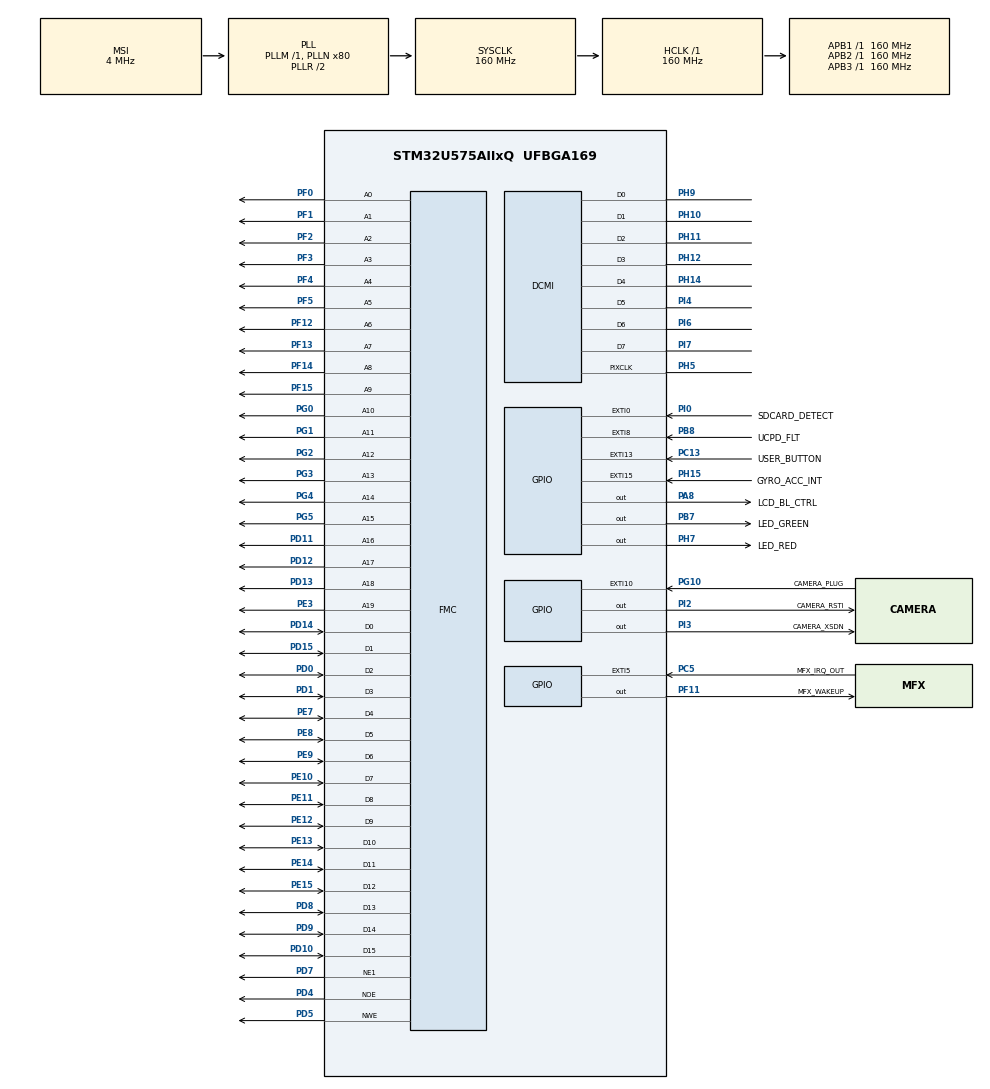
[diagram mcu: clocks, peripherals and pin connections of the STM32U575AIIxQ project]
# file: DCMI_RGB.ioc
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CORTEX_M33_NS.userName=CORTEX_M33
DCMI.FrameEndCode=0xF3
DCMI.FrameStartCode=0xF4
DCMI.JPEGMode=DCMI_JPEG_DISABLE
DCMI.LineEndCode=0xF1
DCMI.LineStartCode=0xF2
DCMI.PCKPolarity=DCMI_PCKPOLARITY_RISING
GPDMA1.LINKALLOCATEDPORT_GPDMACH12=DMA_LINK_ALLOCATED_PORT1
GPDMA1.LINKEDLISTMODE_GPDMACH12=DMA_LINKEDLIST_CIRCULAR
Linkedlist.MDMA_Channel0.GP_SW.0.ADDRESSING2D=ENABLE
Linkedlist.MDMA_Channel0.GP_SW.0.BlkDestAddrOffset=0
Linkedlist.MDMA_Channel0.GP_SW.0.BlkHWRequest=DMA_BREQ_SINGLE_BURST
Linkedlist.MDMA_Channel0.GP_SW.0.BlkSrcAddrOffset=0
Linkedlist.MDMA_Channel0.GP_SW.0.DataHandling=NONE
Linkedlist.MDMA_Channel0.GP_SW.0.DataSize=0
Linkedlist.MDMA_Channel0.GP_SW.0.DestAddrOffset=0
Linkedlist.MDMA_Channel0.GP_SW.0.DestBurstLength=1
Linkedlist.MDMA_Channel0.GP_SW.0.DestDataWidth=DMA_DEST_DATAWIDTH_WORD
Linkedlist.MDMA_Channel0.GP_SW.0.DestInc=DMA_DINC_INCREMENTED
Linkedlist.MDMA_Channel0.GP_SW.0.Direction=DMA_PERIPH_TO_MEMORY
Linkedlist.MDMA_Channel0.GP_SW.0.DstAddress=0
Linkedlist.MDMA_Channel0.GP_SW.0.Instance=MDMA_Channel0
Linkedlist.MDMA_Channel0.GP_SW.0.LL_CIRCULARNODE=DCMINode1
Linkedlist.MDMA_Channel0.GP_SW.0.LL_MASTERDMA=GPDMA2D
Linkedlist.MDMA_Channel0.GP_SW.0.LL_NAME=DCMIQueue
Linkedlist.MDMA_Channel0.GP_SW.0.LL_TYPE=CIRCULAR
Linkedlist.MDMA_Channel0.GP_SW.0.NODE_NAME=DCMINode1
Linkedlist.MDMA_Channel0.GP_SW.0.RepeatCount=1
Linkedlist.MDMA_Channel0.GP_SW.0.Requestforcodegen=GPDMA1_REQUEST_DCMI
Linkedlist.MDMA_Channel0.GP_SW.0.SrcAddrOffset=0
Linkedlist.MDMA_Channel0.GP_SW.0.SrcAddress=0
Linkedlist.MDMA_Channel0.GP_SW.0.SrcBurstLength=1
Linkedlist.MDMA_Channel0.GP_SW.0.SrcDataWidth=DMA_SRC_DATAWIDTH_WORD
Linkedlist.MDMA_Channel0.GP_SW.0.SrcInc=DMA_SINC_FIXED
Linkedlist.MDMA_Channel0.GP_SW.0.TransferAllocatedPortSrc=DMA_SRC_ALLOCATED_PORT0
Linkedlist.MDMA_Channel0.GP_SW.0.TransferEventMode=DMA_TCEM_BLOCK_TRANSFER
Linkedlist.MDMA_Channel0.GP_SW.0.TriggerPolarity=DMA_TRIG_POLARITY_MASKED
Linkedlist.MDMA_Channel0.GP_SW.1.ADDRESSING2D=ENABLE
Linkedlist.MDMA_Channel0.GP_SW.1.BlkDestAddrOffset=0
Linkedlist.MDMA_Channel0.GP_SW.1.BlkHWRequest=DMA_BREQ_SINGLE_BURST
Linkedlist.MDMA_Channel0.GP_SW.1.BlkSrcAddrOffset=0
Linkedlist.MDMA_Channel0.GP_SW.1.DataHandling=NONE
Linkedlist.MDMA_Channel0.GP_SW.1.DataSize=0
Linkedlist.MDMA_Channel0.GP_SW.1.DestAddrOffset=0
Linkedlist.MDMA_Channel0.GP_SW.1.DestBurstLength=1
Linkedlist.MDMA_Channel0.GP_SW.1.DestDataWidth=DMA_DEST_DATAWIDTH_WORD
Linkedlist.MDMA_Channel0.GP_SW.1.DestInc=DMA_DINC_INCREMENTED
Linkedlist.MDMA_Channel0.GP_SW.1.Direction=DMA_PERIPH_TO_MEMORY
Linkedlist.MDMA_Channel0.GP_SW.1.DstAddress=0
Linkedlist.MDMA_Channel0.GP_SW.1.Instance=MDMA_Channel0
Linkedlist.MDMA_Channel0.GP_SW.1.LL_CIRCULARNODE=DCMINode1
Linkedlist.MDMA_Channel0.GP_SW.1.LL_MASTERDMA=GPDMA2D
Linkedlist.MDMA_Channel0.GP_SW.1.LL_NAME=DCMIQueue
Linkedlist.MDMA_Channel0.GP_SW.1.LL_TYPE=CIRCULAR
Linkedlist.MDMA_Channel0.GP_SW.1.NODE_NAME=DCMINode2
Linkedlist.MDMA_Channel0.GP_SW.1.RepeatCount=1
Linkedlist.MDMA_Channel0.GP_SW.1.Requestforcodegen=GPDMA1_REQUEST_DCMI
Linkedlist.MDMA_Channel0.GP_SW.1.SrcAddrOffset=0
Linkedlist.MDMA_Channel0.GP_SW.1.SrcAddress=0
Linkedlist.MDMA_Channel0.GP_SW.1.SrcBurstLength=1
Linkedlist.MDMA_Channel0.GP_SW.1.SrcDataWidth=DMA_SRC_DATAWIDTH_WORD
Linkedlist.MDMA_Channel0.GP_SW.1.SrcInc=DMA_SINC_FIXED
Linkedlist.MDMA_Channel0.GP_SW.1.TransferAllocatedPortSrc=DMA_SRC_ALLOCATED_PORT0
Linkedlist.MDMA_Channel0.GP_SW.1.TransferEventMode=DMA_TCEM_BLOCK_TRANSFER
Linkedlist.MDMA_Channel0.GP_SW.1.TriggerPolarity=DMA_TRIG_POLARITY_MASKED
Linkedlist.MDMA_Channel0.Request0=GP_SW
Linkedlist.MDMA_Channel0.Request1=GP_SW
Linkedlist.MDMA_Channel0.RequestsNb=2
Linkedlist.RequestSet0=MDMA_Channel0
Linkedlist.RequestSetsNb=1
Mcu.Family=STM32U5
Mcu.Name=STM32U575AIIxQ
Mcu.Package=UFBGA169
NVIC.DCMI_PSSI_IRQn=true\:0\:0\:false\:false\:true\:true\:true\:true
NVIC.EXTI13_IRQn=true\:0\:0\:false\:false\:true\:true\:true\:true
NVIC.GPDMA1_Channel12_IRQn=true\:0\:0\:false\:false\:true\:true\:true\:true
NVIC.PriorityGroup=NVIC_PRIORITYGROUP_3
PA0.GPIO_Label=IBUS_SENSE
PA0.Signal=ADC1_IN5
PA1.Signal=TAMP_IN5
PA10.Signal=USART1_RX
PA11.Signal=USB_OTG_FS_DM
PA12.Signal=USB_OTG_FS_DP
PA13\ (JTMS/SWDIO).Signal=DEBUG_JTMS-SWDIO
PA14\ (JTCK/SWCLK).Signal=DEBUG_JTCK-SWCLK
PA15\ (JTDI).Signal=UCPD1_CC1
PA2.Signal=OCTOSPIM_P1_NCS
PA3.Signal=OCTOSPIM_P1_CLK
PA5.GPIO_Label=VBUS_SENSE
PA5.Signal=ADC1_IN10
PA6.Signal=OCTOSPIM_P1_IO3
PA7.Signal=OCTOSPIM_P1_IO2
PA8.GPIO_Label=LCD_BL_CTRL
PA8.Signal=GPIO_Output
PA9.Signal=USART1_TX
PB0.Signal=OCTOSPIM_P1_IO1
PB1.Signal=OCTOSPIM_P1_IO0
PB10.GPIO_Pu=GPIO_PULLUP
PB10.Signal=I2C2_SCL
PB11.GPIO_Pu=GPIO_PULLUP
PB11.Signal=I2C2_SDA
PB12.Signal=USART3_CK
PB13.Signal=TSC_G1_IO2
PB14.Signal=TSC_G1_IO3
PB15.Signal=UCPD1_CC2
PB2.Signal=OCTOSPIM_P1_DQS
PB3\ (JTDO/TRACESWO).Signal=ADF1_CCK0
PB4\ (NJTRST).Signal=ADF1_SDI0
PB6.Signal=MDF1_SDI5
PB7.GPIO_Label=LED_GREEN
PB7.Signal=GPIO_Output
PB8.GPIO_Label=UCPD_FLT
PB8.Signal=GPXTI8
PC0.Signal=OCTOSPIM_P1_IO7
PC1.Signal=OCTOSPIM_P1_IO4
PC10.Signal=SDMMC1_D2
PC11.Signal=SDMMC1_D3
PC12.Signal=SDMMC1_CK
PC13.GPIO_Label=USER_BUTTON
PC13.Signal=GPXTI13
PC2.Signal=OCTOSPIM_P1_IO5
PC3.Signal=OCTOSPIM_P1_IO6
PC4.Signal=USART3_TX
PC5.GPIO_Label=MFX_IRQ_OUT
PC5.Signal=GPXTI5
PC6.Signal=TSC_G4_IO1
PC7.Signal=TSC_G4_IO2
PC8.Signal=SDMMC1_D0
PC9.Signal=SDMMC1_D1
PD0.Signal=FMC_D2_DA2
PD1.Signal=FMC_D3_DA3
PD10.Signal=FMC_D15_DA15
PD11.Signal=FMC_A16_CLE
PD12.Signal=FMC_A17_ALE
PD13.Signal=FMC_A18
PD14.Signal=FMC_D0_DA0
PD15.Signal=FMC_D1_DA1
PD2.Signal=SDMMC1_CMD
PD3.Signal=MDF1_SDI0
PD4.Signal=FMC_NOE
PD5.Signal=FMC_NWE
PD6.Signal=SAI1_SD_A
PD7.Mode=NorPsramChipSelect1_1
PD7.Signal=FMC_NE1
PD8.Signal=FMC_D13_DA13
PD9.Signal=FMC_D14_DA14
PE0.Signal=FMC_NBL0
PE1.Signal=FMC_NBL1
PE10.Signal=FMC_D7_DA7
PE11.Signal=FMC_D8_DA8
PE12.Signal=FMC_D9_DA9
PE13.Signal=FMC_D10_DA10
PE14.Signal=FMC_D11_DA11
PE15.Signal=FMC_D12_DA12
PE3.Signal=FMC_A19
PE4.Signal=MDF1_SDI3
PE6.GPIO_Label=FMC_A22_LCD_RS
PE6.Signal=FMC_A22
PE7.Signal=FMC_D4_DA4
PE8.Signal=FMC_D5_DA5
PE9.Signal=FMC_D6_DA6
PF0.Signal=FMC_A0
PF1.Signal=FMC_A1
PF10.Signal=MDF1_CCK1
PF11.GPIO_Label=MFX_WAKEUP
PF11.Signal=GPIO_Output
PF12.Signal=FMC_A6
PF13.Signal=FMC_A7
PF14.Signal=FMC_A8
PF15.Signal=FMC_A9
PF2.Signal=FMC_A2
PF3.Signal=FMC_A3
PF4.Signal=FMC_A4
PF5.Signal=FMC_A5
PF7.Signal=SAI1_MCLK_B
PG0.Signal=FMC_A10
PG1.Signal=FMC_A11
PG10.GPIO_Label=CAMERA_PLUG
PG10.Signal=GPXTI10
PG12.Signal=FMC_NE4
PG2.Signal=FMC_A12
PG3.Signal=FMC_A13
PG4.Signal=FMC_A14
PG5.Signal=FMC_A15
PG7.GPIO_Pu=GPIO_PULLUP
PG7.Signal=I2C3_SCL
PG8.GPIO_Pu=GPIO_PULLUP
PG8.Signal=I2C3_SDA
PH10.Mode=Slave_8_bits_Embedded_Synchro
PH10.Signal=DCMI_D1
PH11.Mode=Slave_8_bits_Embedded_Synchro
PH11.Signal=DCMI_D2
PH12.Mode=Slave_8_bits_Embedded_Synchro
PH12.Signal=DCMI_D3
PH14.Mode=Slave_8_bits_Embedded_Synchro
PH14.Signal=DCMI_D4
PH15.GPIO_Label=GYRO_ACC_INT
PH15.Signal=GPXTI15
PH5.Mode=Slave_8_bits_Embedded_Synchro
PH5.Signal=DCMI_PIXCLK
PH7.GPIO_Label=LED_RED
PH7.Signal=GPIO_Output
PH8.Signal=DCMI_HSYNC
PH9.Mode=Slave_8_bits_Embedded_Synchro
PH9.Signal=DCMI_D0
PI0.GPIO_Label=SDCARD_DETECT
PI0.Signal=GPXTI0
PI2.GPIO_Label=CAMERA_RSTI
PI2.Signal=GPIO_Output
PI3.GPIO_Label=CAMERA_XSDN
PI3.Signal=GPIO_Output
PI4.Mode=Slave_8_bits_Embedded_Synchro
PI4.Signal=DCMI_D5
PI5.Signal=DCMI_VSYNC
PI6.Mode=Slave_8_bits_Embedded_Synchro
PI6.Signal=DCMI_D6
PI7.Mode=Slave_8_bits_Embedded_Synchro
PI7.Signal=DCMI_D7
PWR.PowerMode=PWR_SMPS_SUPPLY
ProjectManager.HeapSize=0x200
ProjectManager.StackSize=0x400
ProjectManager.TargetToolchain=STM32CubeIDE
RCC.ADCFreq_Value=16000000
RCC.AHBFreq_Value=160000000
RCC.APB1Freq_Value=160000000
RCC.APB1TimFreq_Value=160000000
RCC.APB2Freq_Value=160000000
RCC.APB2TimFreq_Value=160000000
RCC.APB3Freq_Value=160000000
RCC.CortexFreq_Value=160000000
RCC.DACCLockSelectionVirtual=RCC_DAC1CLKSOURCE_LSI
RCC.EPOD_VALUE=4000000
RCC.HCLKFreq_Value=160000000
RCC.HSE_VALUE=16000000
RCC.HSI48_VALUE=48000000
RCC.HSI_VALUE=16000000
RCC.LSE_VALUE=32768
RCC.LSIDIV_VALUE=32000
RCC.MSI_VALUE=4000000
RCC.PLL1P=4
RCC.PLL2FRACN=0
RCC.PLL2N=8
RCC.PLL2P=1
RCC.PLLFRACN=0
RCC.PLLN=80
RCC.SYSCLKFreq_VALUE=160000000
RCC.SYSCLKSource=RCC_SYSCLKSOURCE_PLLCLK
RCC.USBFreq_Value=48000000
RCC.VCOOutputFreq_Value=320000000
SH.FMC_A0.0=FMC_A0,20b-a1
SH.FMC_A1.0=FMC_A1,20b-a1
SH.FMC_A10.0=FMC_A10,20b-a1
SH.FMC_A11.0=FMC_A11,20b-a1
SH.FMC_A12.0=FMC_A12,20b-a1
SH.FMC_A13.0=FMC_A13,20b-a1
SH.FMC_A14.0=FMC_A14,20b-a1
SH.FMC_A15.0=FMC_A15,20b-a1
SH.FMC_A16_CLE.0=FMC_A16,20b-a1
SH.FMC_A17_ALE.0=FMC_A17,20b-a1
SH.FMC_A18.0=FMC_A18,20b-a1
SH.FMC_A19.0=FMC_A19,20b-a1
SH.FMC_A2.0=FMC_A2,20b-a1
SH.FMC_A22.0=FMC_A22
SH.FMC_A3.0=FMC_A3,20b-a1
SH.FMC_A4.0=FMC_A4,20b-a1
SH.FMC_A5.0=FMC_A5,20b-a1
SH.FMC_A6.0=FMC_A6,20b-a1
SH.FMC_A7.0=FMC_A7,20b-a1
SH.FMC_A8.0=FMC_A8,20b-a1
SH.FMC_A9.0=FMC_A9,20b-a1
SH.FMC_D0_DA0.0=FMC_D0,16b-d1
SH.FMC_D10_DA10.0=FMC_D10,16b-d1
SH.FMC_D11_DA11.0=FMC_D11,16b-d1
SH.FMC_D12_DA12.0=FMC_D12,16b-d1
SH.FMC_D13_DA13.0=FMC_D13,16b-d1
SH.FMC_D14_DA14.0=FMC_D14,16b-d1
SH.FMC_D15_DA15.0=FMC_D15,16b-d1
SH.FMC_D1_DA1.0=FMC_D1,16b-d1
SH.FMC_D2_DA2.0=FMC_D2,16b-d1
SH.FMC_D3_DA3.0=FMC_D3,16b-d1
SH.FMC_D4_DA4.0=FMC_D4,16b-d1
SH.FMC_D5_DA5.0=FMC_D5,16b-d1
SH.FMC_D6_DA6.0=FMC_D6,16b-d1
SH.FMC_D7_DA7.0=FMC_D7,16b-d1
SH.FMC_D8_DA8.0=FMC_D8,16b-d1
SH.FMC_D9_DA9.0=FMC_DA9
SH.FMC_D9_DA9.1=FMC_D9,16b-d1
SH.FMC_NBL0.0=FMC_NBL0
SH.FMC_NBL1.0=FMC_NBL1
SH.FMC_NOE.0=FMC_NOE,Sram1
SH.FMC_NWE.0=FMC_NWE,Sram1
VP_GPDMA1_VS_GPDMACH12.Mode=LINKEDLIST_GPDMACH12
VP_ICACHE_VS_ICACHE.Mode=DirectMappedCache
VP_LPBAMQUEUE_VS_QUEUE.Mode=QUEUEMODE
VP_LPBAM_VS_SIG1.Mode=SmartRun
VP_LPBAM_VS_SIG4.Mode=LPDMA1
VP_PWR_VS_DBSignals.Mode=DisableDeadBatterySignals
VP_PWR_VS_LPOM.Mode=PowerOptimisation
VP_PWR_VS_SECSignals.Mode=Security/Privilege
board=STM32U575I-EV

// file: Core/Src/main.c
/* USER CODE BEGIN Header */
/**
  ******************************************************************************
  * @file           : main.c
  * @brief          : Main program body
  ******************************************************************************
  * @attention
  *
  * Copyright (c) 2021 STMicroelectronics.
  * All rights reserved.
  *
  * This software is licensed under terms that can be found in the LICENSE file
  * in the root directory of this software component.
  * If no LICENSE file comes with this software, it is provided AS-IS.
  *
  ******************************************************************************
  */
/* USER CODE END Header */
#include "main.h"

DCMI_HandleTypeDef hdcmi;

DMA_HandleTypeDef handle_GPDMA1_Channel12;

SRAM_HandleTypeDef hsram1;

/* USER CODE BEGIN PV */
__IO uint32_t frame_suspended   = 0;
__IO uint32_t frame_captured    = 0;
uint32_t FRAME_BUFFER_SIZE = (FRAME_WIDTH*FRAME_HEIGHT*2)/4;
uint32_t CAMERA_FRAME_BUFFER[(FRAME_WIDTH*FRAME_HEIGHT*2)/4];
OV5640_SyncCodes_t pSyncroCodes;
DCMI_SyncUnmaskTypeDef SyncUnmask;

extern DMA_QListTypeDef  DCMIQueue;
__IO FlagStatus UserButtonPressed = RESET;
/* USER CODE END PV */

void SystemClock_Config(void);
static void SystemPower_Config(void);
static void MX_GPIO_Init(void);
static void MX_GPDMA1_Init(void);
static void MX_DCMI_Init(void);
static void MX_ICACHE_Init(void);
static void MX_FMC_Init(void);
/* USER CODE BEGIN PFP */
static void MPU_Config(void);
static void Example_Description(void);
static uint32_t OV5640_Config(void);
/* USER CODE END PFP */

int main(void)
{
  /* USER CODE BEGIN 1 */
  /* STM32U5xx HAL library initialization:
       - Configure the Flash prefetch
       - Configure the Systick to generate an interrupt each 1 msec
       - Set NVIC Group Priority to 3
       - Low Level Initialization
     */
  /* USER CODE END 1 */

  /* MCU Configuration--------------------------------------------------------*/

  /* Reset of all peripherals, Initializes the Flash interface and the Systick. */
  HAL_Init();

  /* Configure the system clock */
  SystemClock_Config();

  /* Configure the System Power */
  SystemPower_Config();

  /* USER CODE BEGIN SysInit */

  /*##-2- LCD configuration  #################################################*/
  /* LCD initialization and display enable*/
  BSP_LCD_Init(0,LCD_ORIENTATION_LANDSCAPE);
  BSP_LCD_DisplayOn(0);

  Example_Description();
  /* USER CODE END SysInit */

  /* Initialize all configured peripherals */
  MX_GPIO_Init();
  MX_GPDMA1_Init();
  MX_DCMI_Init();
  MX_ICACHE_Init();
  MX_FMC_Init();
  /* USER CODE BEGIN 2 */
  /* Configure the MPU attributes for SRAM */
  MPU_Config();

    /*##-1- LEDs and User Button initialization  #################################################*/
  BSP_LED_Init(LED5);
  BSP_LED_Init(LED6);
  MX_DCMIQueue_Config();
  HAL_DMAEx_List_LinkQ(&handle_GPDMA1_Channel12, &DCMIQueue);
  __HAL_LINKDMA(&hdcmi, DMA_Handle, handle_GPDMA1_Channel12);
  /*##-4- Camera Initialization ############################*/
  /* Initialize the Camera in QVGA mode */
  if(OV5640_Config() != 0)
  {
    Error_Handler();
  }

  /* Wait for User button press */
  while (UserButtonPressed != SET);

  /* Reset for next operation */
  UserButtonPressed = RESET;

   /*
     LCD size is 320 x 240 and format is RGB565 i.e. 16 bpp or 2 bytes/pixel.
     The LCD frame size is therefore 320 * 240 half-words of (320*240*2) 8-bit long bytes .
     Since the unit of the DMA associated to DCMI IP is with word , the last parameter of
     HAL_DCMI_Start_DMA is set to:
     FRAME_BUFFER_SIZE = ((FRAME_WIDTH*FRAME_HEIGHT)*2)/4, that is (320 * 240 * 2)/4
   */
  HAL_DCMI_Start_DMA(&hdcmi, DCMI_MODE_CONTINUOUS, (uint32_t)CAMERA_FRAME_BUFFER, FRAME_BUFFER_SIZE);

  /* USER CODE END 2 */

  /* Infinite loop */
  /* USER CODE BEGIN WHILE */
  while (1)
  {

    /* Display the continuous grap */
	UTIL_LCD_SetFuncDriver(&LCD_Driver);
    BSP_LCD_FillRGBRect(0,0,0,(uint8_t *)CAMERA_FRAME_BUFFER,FRAME_WIDTH,FRAME_HEIGHT);

    UTIL_LCD_SetBackColor(UTIL_LCD_COLOR_GRAY);
    UTIL_LCD_SetTextColor(UTIL_LCD_COLOR_RED);
    UTIL_LCD_DisplayStringAt(0, 5, (uint8_t *)"RGB Format", CENTER_MODE);

    /* for any Press Check whether the Continuous capture should be suspended or resumed */
    while (UserButtonPressed != RESET)
    {
      if(frame_suspended == 1)
      {
        if(HAL_DCMI_Resume(&hdcmi) != HAL_OK)
        {
          Error_Handler();
        }
        frame_suspended=0;
      }
      else
      {
        if(HAL_DCMI_Suspend(&hdcmi) != HAL_OK)
        {
          Error_Handler();
        }
        frame_suspended++;
      }
      UserButtonPressed = RESET;
    }
    /* Check each time for new frame*/
    if(frame_captured != 0)
    {
      frame_captured = 0;
      BSP_LED_Toggle(LED5);
    }
    else
    {
      BSP_LED_Off(LED5);
    }
    /* USER CODE END WHILE */

  }
}

void SystemClock_Config(void)
{
  RCC_OscInitTypeDef RCC_OscInitStruct = {0};
  RCC_ClkInitTypeDef RCC_ClkInitStruct = {0};

  /** Configure the main internal regulator output voltage
  */
  if (HAL_PWREx_ControlVoltageScaling(PWR_REGULATOR_VOLTAGE_SCALE1) != HAL_OK)
  {
    Error_Handler();
  }

  /** Initializes the CPU, AHB and APB buses clocks
  */
  RCC_OscInitStruct.OscillatorType = RCC_OSCILLATORTYPE_MSI;
  RCC_OscInitStruct.MSIState = RCC_MSI_ON;
  RCC_OscInitStruct.MSICalibrationValue = RCC_MSICALIBRATION_DEFAULT;
  RCC_OscInitStruct.MSIClockRange = RCC_MSIRANGE_4;
  RCC_OscInitStruct.PLL.PLLState = RCC_PLL_ON;
  RCC_OscInitStruct.PLL.PLLSource = RCC_PLLSOURCE_MSI;
  RCC_OscInitStruct.PLL.PLLMBOOST = RCC_PLLMBOOST_DIV1;
  RCC_OscInitStruct.PLL.PLLM = 1;
  RCC_OscInitStruct.PLL.PLLN = 80;
  RCC_OscInitStruct.PLL.PLLP = 4;
  RCC_OscInitStruct.PLL.PLLQ = 2;
  RCC_OscInitStruct.PLL.PLLR = 2;
  RCC_OscInitStruct.PLL.PLLRGE = RCC_PLLVCIRANGE_0;
  RCC_OscInitStruct.PLL.PLLFRACN = 0;
  if (HAL_RCC_OscConfig(&RCC_OscInitStruct) != HAL_OK)
  {
    Error_Handler();
  }

  /** Initializes the CPU, AHB and APB buses clocks
  */
  RCC_ClkInitStruct.ClockType = RCC_CLOCKTYPE_HCLK|RCC_CLOCKTYPE_SYSCLK
                              |RCC_CLOCKTYPE_PCLK1|RCC_CLOCKTYPE_PCLK2
                              |RCC_CLOCKTYPE_PCLK3;
  RCC_ClkInitStruct.SYSCLKSource = RCC_SYSCLKSOURCE_PLLCLK;
  RCC_ClkInitStruct.AHBCLKDivider = RCC_SYSCLK_DIV1;
  RCC_ClkInitStruct.APB1CLKDivider = RCC_HCLK_DIV1;
  RCC_ClkInitStruct.APB2CLKDivider = RCC_HCLK_DIV1;
  RCC_ClkInitStruct.APB3CLKDivider = RCC_HCLK_DIV1;

  if (HAL_RCC_ClockConfig(&RCC_ClkInitStruct, FLASH_LATENCY_4) != HAL_OK)
  {
    Error_Handler();
  }
}

/**
  * @brief Power Configuration
  * @retval None
  */
static void SystemPower_Config(void)
{
  HAL_PWREx_EnableVddIO2();

  /*
   * Disable the internal Pull-Up in Dead Battery pins of UCPD peripheral
   */
  HAL_PWREx_DisableUCPDDeadBattery();

  /*
   * Switch to SMPS regulator instead of LDO
   */
  if (HAL_PWREx_ConfigSupply(PWR_SMPS_SUPPLY) != HAL_OK)
  {
    Error_Handler();
  }
}

static void MX_DCMI_Init(void)
{

  hdcmi.Instance = DCMI;
  hdcmi.Init.SynchroMode = DCMI_SYNCHRO_EMBEDDED;
  hdcmi.Init.PCKPolarity = DCMI_PCKPOLARITY_RISING;
  hdcmi.Init.CaptureRate = DCMI_CR_ALL_FRAME;
  hdcmi.Init.ExtendedDataMode = DCMI_EXTEND_DATA_8B;
  hdcmi.Init.SyncroCode.FrameEndCode = 0xF3;
  hdcmi.Init.SyncroCode.FrameStartCode = 0xF4;
  hdcmi.Init.SyncroCode.LineStartCode = 0xF2;
  hdcmi.Init.SyncroCode.LineEndCode = 0xF1;
  hdcmi.Init.JPEGMode = DCMI_JPEG_DISABLE;
  hdcmi.Init.ByteSelectMode = DCMI_BSM_ALL;
  hdcmi.Init.ByteSelectStart = DCMI_OEBS_ODD;
  hdcmi.Init.LineSelectMode = DCMI_LSM_ALL;
  hdcmi.Init.LineSelectStart = DCMI_OELS_ODD;
  if (HAL_DCMI_Init(&hdcmi) != HAL_OK)
  {
    Error_Handler();
  }
  /* USER CODE BEGIN DCMI_Init 2 */
  SyncUnmask.FrameEndUnmask    = 0xFF;
  SyncUnmask.FrameStartUnmask  = 0xFF;
  SyncUnmask.LineEndUnmask     = 0xFF;
  SyncUnmask.LineStartUnmask   = 0xFF;
  if(HAL_DCMI_ConfigSyncUnmask(&hdcmi,&SyncUnmask) != HAL_OK)
  {
    Error_Handler();
  }
  /* USER CODE END DCMI_Init 2 */

}

static void MX_GPDMA1_Init(void)
{

  /* Peripheral clock enable */
  __HAL_RCC_GPDMA1_CLK_ENABLE();

  /* GPDMA1 interrupt Init */
    HAL_NVIC_SetPriority(GPDMA1_Channel12_IRQn, 0, 0);
    HAL_NVIC_EnableIRQ(GPDMA1_Channel12_IRQn);

  handle_GPDMA1_Channel12.Instance = GPDMA1_Channel12;
  handle_GPDMA1_Channel12.InitLinkedList.Priority = DMA_LOW_PRIORITY_LOW_WEIGHT;
  handle_GPDMA1_Channel12.InitLinkedList.LinkStepMode = DMA_LSM_FULL_EXECUTION;
  handle_GPDMA1_Channel12.InitLinkedList.LinkAllocatedPort = DMA_LINK_ALLOCATED_PORT1;
  handle_GPDMA1_Channel12.InitLinkedList.TransferEventMode = DMA_TCEM_LAST_LL_ITEM_TRANSFER;
  handle_GPDMA1_Channel12.InitLinkedList.LinkedListMode = DMA_LINKEDLIST_CIRCULAR;
  if (HAL_DMAEx_List_Init(&handle_GPDMA1_Channel12) != HAL_OK)
  {
    Error_Handler();
  }
  if (HAL_DMA_ConfigChannelAttributes(&handle_GPDMA1_Channel12, DMA_CHANNEL_NPRIV) != HAL_OK)
  {
    Error_Handler();
  }

}

static void MX_ICACHE_Init(void)
{

  /** Enable instruction cache in 1-way (direct mapped cache)
  */
  if (HAL_ICACHE_ConfigAssociativityMode(ICACHE_1WAY) != HAL_OK)
  {
    Error_Handler();
  }
  if (HAL_ICACHE_Enable() != HAL_OK)
  {
    Error_Handler();
  }

}

/* FMC initialization function */
static void MX_FMC_Init(void)
{

  FMC_NORSRAM_TimingTypeDef Timing = {0};

  /** Perform the SRAM1 memory initialization sequence
  */
  hsram1.Instance = FMC_NORSRAM_DEVICE;
  hsram1.Extended = FMC_NORSRAM_EXTENDED_DEVICE;
  /* hsram1.Init */
  hsram1.Init.NSBank = FMC_NORSRAM_BANK1;
  hsram1.Init.DataAddressMux = FMC_DATA_ADDRESS_MUX_DISABLE;
  hsram1.Init.MemoryType = FMC_MEMORY_TYPE_SRAM;
  hsram1.Init.MemoryDataWidth = FMC_NORSRAM_MEM_BUS_WIDTH_16;
  hsram1.Init.BurstAccessMode = FMC_BURST_ACCESS_MODE_DISABLE;
  hsram1.Init.WaitSignalPolarity = FMC_WAIT_SIGNAL_POLARITY_LOW;
  hsram1.Init.WaitSignalActive = FMC_WAIT_TIMING_BEFORE_WS;
  hsram1.Init.WriteOperation = FMC_WRITE_OPERATION_DISABLE;
  hsram1.Init.WaitSignal = FMC_WAIT_SIGNAL_DISABLE;
  hsram1.Init.ExtendedMode = FMC_EXTENDED_MODE_DISABLE;
  hsram1.Init.AsynchronousWait = FMC_ASYNCHRONOUS_WAIT_DISABLE;
  hsram1.Init.WriteBurst = FMC_WRITE_BURST_DISABLE;
  hsram1.Init.ContinuousClock = FMC_CONTINUOUS_CLOCK_SYNC_ONLY;
  hsram1.Init.WriteFifo = FMC_WRITE_FIFO_ENABLE;
  hsram1.Init.NBLSetupTime = 0;
  hsram1.Init.PageSize = FMC_PAGE_SIZE_NONE;
  hsram1.Init.MaxChipSelectPulse = DISABLE;
  /* Timing */
  Timing.AddressSetupTime = 15;
  Timing.AddressHoldTime = 15;
  Timing.DataSetupTime = 255;
  Timing.DataHoldTime = 0;
  Timing.BusTurnAroundDuration = 15;
  Timing.CLKDivision = 16;
  Timing.DataLatency = 17;
  Timing.AccessMode = FMC_ACCESS_MODE_A;
  /* ExtTiming */

  if (HAL_SRAM_Init(&hsram1, &Timing, NULL) != HAL_OK)
  {
    Error_Handler( );
  }

}

static void MX_GPIO_Init(void)
{
  GPIO_InitTypeDef GPIO_InitStruct = {0};

  /* GPIO Ports Clock Enable */
  __HAL_RCC_GPIOI_CLK_ENABLE();
  __HAL_RCC_GPIOC_CLK_ENABLE();
  __HAL_RCC_GPIOA_CLK_ENABLE();
  __HAL_RCC_GPIOH_CLK_ENABLE();
  __HAL_RCC_GPIOB_CLK_ENABLE();
  __HAL_RCC_GPIOD_CLK_ENABLE();
  __HAL_RCC_GPIOE_CLK_ENABLE();
  __HAL_RCC_GPIOG_CLK_ENABLE();
  __HAL_RCC_GPIOF_CLK_ENABLE();

  /*Configure GPIO pin Output Level */
  HAL_GPIO_WritePin(GPIOI, CAMERA_XSDN_Pin|CAMERA_RSTI_Pin, GPIO_PIN_RESET);

  /*Configure GPIO pin Output Level */
  HAL_GPIO_WritePin(LED_GREEN_GPIO_Port, LED_GREEN_Pin, GPIO_PIN_RESET);

  /*Configure GPIO pin Output Level */
  HAL_GPIO_WritePin(LED_RED_GPIO_Port, LED_RED_Pin, GPIO_PIN_RESET);

  /*Configure GPIO pin Output Level */
  HAL_GPIO_WritePin(LCD_BL_CTRL_GPIO_Port, LCD_BL_CTRL_Pin, GPIO_PIN_RESET);

  /*Configure GPIO pin Output Level */
  HAL_GPIO_WritePin(MFX_WAKEUP_GPIO_Port, MFX_WAKEUP_Pin, GPIO_PIN_RESET);

  /*Configure GPIO pins : PC11 PC10 PC12 PC9
                           PC8 */
  GPIO_InitStruct.Pin = GPIO_PIN_11|GPIO_PIN_10|GPIO_PIN_12|GPIO_PIN_9
                          |GPIO_PIN_8;
  GPIO_InitStruct.Mode = GPIO_MODE_AF_PP;
  GPIO_InitStruct.Pull = GPIO_NOPULL;
  GPIO_InitStruct.Speed = GPIO_SPEED_FREQ_HIGH;
  GPIO_InitStruct.Alternate = GPIO_AF12_SDMMC1;
  HAL_GPIO_Init(GPIOC, &GPIO_InitStruct);

  /*Configure GPIO pins : PA15 IBUS_SENSE_Pin VBUS_SENSE_Pin */
  GPIO_InitStruct.Pin = GPIO_PIN_15|IBUS_SENSE_Pin|VBUS_SENSE_Pin;
  GPIO_InitStruct.Mode = GPIO_MODE_ANALOG;
  GPIO_InitStruct.Pull = GPIO_NOPULL;
  HAL_GPIO_Init(GPIOA, &GPIO_InitStruct);

  /*Configure GPIO pin : GYRO_ACC_INT_Pin */
  GPIO_InitStruct.Pin = GYRO_ACC_INT_Pin;
  GPIO_InitStruct.Mode = GPIO_MODE_IT_RISING;
  GPIO_InitStruct.Pull = GPIO_NOPULL;
  HAL_GPIO_Init(GYRO_ACC_INT_GPIO_Port, &GPIO_InitStruct);

  /*Configure GPIO pin : PB6 */
  GPIO_InitStruct.Pin = GPIO_PIN_6;
  GPIO_InitStruct.Mode = GPIO_MODE_AF_PP;
  GPIO_InitStruct.Pull = GPIO_NOPULL;
  GPIO_InitStruct.Speed = GPIO_SPEED_FREQ_LOW;
  GPIO_InitStruct.Alternate = GPIO_AF6_MDF1;
  HAL_GPIO_Init(GPIOB, &GPIO_InitStruct);

  /*Configure GPIO pins : PB4 PB3 */
  GPIO_InitStruct.Pin = GPIO_PIN_4|GPIO_PIN_3;
  GPIO_InitStruct.Mode = GPIO_MODE_AF_PP;
  GPIO_InitStruct.Pull = GPIO_NOPULL;
  GPIO_InitStruct.Speed = GPIO_SPEED_FREQ_LOW;
  GPIO_InitStruct.Alternate = GPIO_AF3_ADF1;
  HAL_GPIO_Init(GPIOB, &GPIO_InitStruct);

  /*Configure GPIO pin : PD6 */
  GPIO_InitStruct.Pin = GPIO_PIN_6;
  GPIO_InitStruct.Mode = GPIO_MODE_AF_PP;
  GPIO_InitStruct.Pull = GPIO_NOPULL;
  GPIO_InitStruct.Speed = GPIO_SPEED_FREQ_LOW;
  GPIO_InitStruct.Alternate = GPIO_AF13_SAI1;
  HAL_GPIO_Init(GPIOD, &GPIO_InitStruct);

  /*Configure GPIO pin : SDCARD_DETECT_Pin */
  GPIO_InitStruct.Pin = SDCARD_DETECT_Pin;
  GPIO_InitStruct.Mode = GPIO_MODE_IT_RISING;
  GPIO_InitStruct.Pull = GPIO_NOPULL;
  HAL_GPIO_Init(SDCARD_DETECT_GPIO_Port, &GPIO_InitStruct);

  /*Configure GPIO pin : PE4 */
  GPIO_InitStruct.Pin = GPIO_PIN_4;
  GPIO_InitStruct.Mode = GPIO_MODE_AF_PP;
  GPIO_InitStruct.Pull = GPIO_NOPULL;
  GPIO_InitStruct.Speed = GPIO_SPEED_FREQ_LOW;
  GPIO_InitStruct.Alternate = GPIO_AF6_MDF1;
  HAL_GPIO_Init(GPIOE, &GPIO_InitStruct);

  /*Configure GPIO pin : CAMERA_PLUG_Pin */
  GPIO_InitStruct.Pin = CAMERA_PLUG_Pin;
  GPIO_InitStruct.Mode = GPIO_MODE_IT_RISING;
  GPIO_InitStruct.Pull = GPIO_NOPULL;
  HAL_GPIO_Init(CAMERA_PLUG_GPIO_Port, &GPIO_InitStruct);

  /*Configure GPIO pin : PD3 */
  GPIO_InitStruct.Pin = GPIO_PIN_3;
  GPIO_InitStruct.Mode = GPIO_MODE_AF_PP;
  GPIO_InitStruct.Pull = GPIO_NOPULL;
  GPIO_InitStruct.Speed = GPIO_SPEED_FREQ_LOW;
  GPIO_InitStruct.Alternate = GPIO_AF6_MDF1;
  HAL_GPIO_Init(GPIOD, &GPIO_InitStruct);

  /*Configure GPIO pins : CAMERA_XSDN_Pin CAMERA_RSTI_Pin */
  GPIO_InitStruct.Pin = CAMERA_XSDN_Pin|CAMERA_RSTI_Pin;
  GPIO_InitStruct.Mode = GPIO_MODE_OUTPUT_PP;
  GPIO_InitStruct.Pull = GPIO_NOPULL;
  GPIO_InitStruct.Speed = GPIO_SPEED_FREQ_LOW;
  HAL_GPIO_Init(GPIOI, &GPIO_InitStruct);

  /*Configure GPIO pins : USER_BUTTON_Pin MFX_IRQ_OUT_Pin */
  GPIO_InitStruct.Pin = USER_BUTTON_Pin|MFX_IRQ_OUT_Pin;
  GPIO_InitStruct.Mode = GPIO_MODE_IT_RISING;
  GPIO_InitStruct.Pull = GPIO_NOPULL;
  HAL_GPIO_Init(GPIOC, &GPIO_InitStruct);

  /*Configure GPIO pin : UCPD_FLT_Pin */
  GPIO_InitStruct.Pin = UCPD_FLT_Pin;
  GPIO_InitStruct.Mode = GPIO_MODE_IT_RISING;
  GPIO_InitStruct.Pull = GPIO_NOPULL;
  HAL_GPIO_Init(UCPD_FLT_GPIO_Port, &GPIO_InitStruct);

  /*Configure GPIO pin : LED_GREEN_Pin */
  GPIO_InitStruct.Pin = LED_GREEN_Pin;
  GPIO_InitStruct.Mode = GPIO_MODE_OUTPUT_PP;
  GPIO_InitStruct.Pull = GPIO_NOPULL;
  GPIO_InitStruct.Speed = GPIO_SPEED_FREQ_LOW;
  HAL_GPIO_Init(LED_GREEN_GPIO_Port, &GPIO_InitStruct);

  /*Configure GPIO pin : PD2 */
  GPIO_InitStruct.Pin = GPIO_PIN_2;
  GPIO_InitStruct.Mode = GPIO_MODE_AF_PP;
  GPIO_InitStruct.Pull = GPIO_NOPULL;
  GPIO_InitStruct.Speed = GPIO_SPEED_FREQ_HIGH;
  GPIO_InitStruct.Alternate = GPIO_AF12_SDMMC1;
  HAL_GPIO_Init(GPIOD, &GPIO_InitStruct);

  /*Configure GPIO pin : LED_RED_Pin */
  GPIO_InitStruct.Pin = LED_RED_Pin;
  GPIO_InitStruct.Mode = GPIO_MODE_OUTPUT_PP;
  GPIO_InitStruct.Pull = GPIO_NOPULL;
  GPIO_InitStruct.Speed = GPIO_SPEED_FREQ_LOW;
  HAL_GPIO_Init(LED_RED_GPIO_Port, &GPIO_InitStruct);

  /*Configure GPIO pins : PA10 PA9 */
  GPIO_InitStruct.Pin = GPIO_PIN_10|GPIO_PIN_9;
  GPIO_InitStruct.Mode = GPIO_MODE_AF_PP;
  GPIO_InitStruct.Pull = GPIO_NOPULL;
  GPIO_InitStruct.Speed = GPIO_SPEED_FREQ_LOW;
  GPIO_InitStruct.Alternate = GPIO_AF7_USART1;
  HAL_GPIO_Init(GPIOA, &GPIO_InitStruct);

  /*Configure GPIO pins : PA12 PA11 */
  GPIO_InitStruct.Pin = GPIO_PIN_12|GPIO_PIN_11;
  GPIO_InitStruct.Mode = GPIO_MODE_AF_PP;
  GPIO_InitStruct.Pull = GPIO_NOPULL;
  GPIO_InitStruct.Speed = GPIO_SPEED_FREQ_LOW;
  GPIO_InitStruct.Alternate = GPIO_AF10_USB;
  HAL_GPIO_Init(GPIOA, &GPIO_InitStruct);

  /*Configure GPIO pin : PF7 */
  GPIO_InitStruct.Pin = GPIO_PIN_7;
  GPIO_InitStruct.Mode = GPIO_MODE_AF_PP;
  GPIO_InitStruct.Pull = GPIO_NOPULL;
  GPIO_InitStruct.Speed = GPIO_SPEED_FREQ_LOW;
  GPIO_InitStruct.Alternate = GPIO_AF13_SAI1;
  HAL_GPIO_Init(GPIOF, &GPIO_InitStruct);

  /*Configure GPIO pin : LCD_BL_CTRL_Pin */
  GPIO_InitStruct.Pin = LCD_BL_CTRL_Pin;
  GPIO_InitStruct.Mode = GPIO_MODE_OUTPUT_PP;
  GPIO_InitStruct.Pull = GPIO_NOPULL;
  GPIO_InitStruct.Speed = GPIO_SPEED_FREQ_LOW;
  HAL_GPIO_Init(LCD_BL_CTRL_GPIO_Port, &GPIO_InitStruct);

  /*Configure GPIO pins : PG7 PG8 */
  GPIO_InitStruct.Pin = GPIO_PIN_7|GPIO_PIN_8;
  GPIO_InitStruct.Mode = GPIO_MODE_AF_OD;
  GPIO_InitStruct.Pull = GPIO_PULLUP;
  GPIO_InitStruct.Speed = GPIO_SPEED_FREQ_LOW;
  GPIO_InitStruct.Alternate = GPIO_AF4_I2C3;
  HAL_GPIO_Init(GPIOG, &GPIO_InitStruct);

  /*Configure GPIO pins : PC7 PC6 */
  GPIO_InitStruct.Pin = GPIO_PIN_7|GPIO_PIN_6;
  GPIO_InitStruct.Mode = GPIO_MODE_AF_PP;
  GPIO_InitStruct.Pull = GPIO_NOPULL;
  GPIO_InitStruct.Speed = GPIO_SPEED_FREQ_LOW;
  GPIO_InitStruct.Alternate = GPIO_AF9_TSC;
  HAL_GPIO_Init(GPIOC, &GPIO_InitStruct);

  /*Configure GPIO pin : PF10 */
  GPIO_InitStruct.Pin = GPIO_PIN_10;
  GPIO_InitStruct.Mode = GPIO_MODE_AF_PP;
  GPIO_InitStruct.Pull = GPIO_NOPULL;
  GPIO_InitStruct.Speed = GPIO_SPEED_FREQ_LOW;
  GPIO_InitStruct.Alternate = GPIO_AF6_MDF1;
  HAL_GPIO_Init(GPIOF, &GPIO_InitStruct);

  /*Configure GPIO pin : PC0 */
  GPIO_InitStruct.Pin = GPIO_PIN_0;
  GPIO_InitStruct.Mode = GPIO_MODE_AF_PP;
  GPIO_InitStruct.Pull = GPIO_NOPULL;
  GPIO_InitStruct.Speed = GPIO_SPEED_FREQ_VERY_HIGH;
  GPIO_InitStruct.Alternate = GPIO_AF3_OCTOSPI1;
  HAL_GPIO_Init(GPIOC, &GPIO_InitStruct);

  /*Configure GPIO pins : PC1 PC2 PC3 */
  GPIO_InitStruct.Pin = GPIO_PIN_1|GPIO_PIN_2|GPIO_PIN_3;
  GPIO_InitStruct.Mode = GPIO_MODE_AF_PP;
  GPIO_InitStruct.Pull = GPIO_NOPULL;
  GPIO_InitStruct.Speed = GPIO_SPEED_FREQ_VERY_HIGH;
  GPIO_InitStruct.Alternate = GPIO_AF10_OCTOSPI1;
  HAL_GPIO_Init(GPIOC, &GPIO_InitStruct);

  /*Configure GPIO pins : PA7 PA2 PA3 PA6 */
  GPIO_InitStruct.Pin = GPIO_PIN_7|GPIO_PIN_2|GPIO_PIN_3|GPIO_PIN_6;
  GPIO_InitStruct.Mode = GPIO_MODE_AF_PP;
  GPIO_InitStruct.Pull = GPIO_NOPULL;
  GPIO_InitStruct.Speed = GPIO_SPEED_FREQ_VERY_HIGH;
  GPIO_InitStruct.Alternate = GPIO_AF10_OCTOSPI1;
  HAL_GPIO_Init(GPIOA, &GPIO_InitStruct);

  /*Configure GPIO pins : PB0 PB2 PB1 */
  GPIO_InitStruct.Pin = GPIO_PIN_0|GPIO_PIN_2|GPIO_PIN_1;
  GPIO_InitStruct.Mode = GPIO_MODE_AF_PP;
  GPIO_InitStruct.Pull = GPIO_NOPULL;
  GPIO_InitStruct.Speed = GPIO_SPEED_FREQ_VERY_HIGH;
  GPIO_InitStruct.Alternate = GPIO_AF10_OCTOSPI1;
  HAL_GPIO_Init(GPIOB, &GPIO_InitStruct);

  /*Configure GPIO pins : PB10 PB11 */
  GPIO_InitStruct.Pin = GPIO_PIN_10|GPIO_PIN_11;
  GPIO_InitStruct.Mode = GPIO_MODE_AF_OD;
  GPIO_InitStruct.Pull = GPIO_PULLUP;
  GPIO_InitStruct.Speed = GPIO_SPEED_FREQ_LOW;
  GPIO_InitStruct.Alternate = GPIO_AF4_I2C2;
  HAL_GPIO_Init(GPIOB, &GPIO_InitStruct);

  /*Configure GPIO pin : PC4 */
  GPIO_InitStruct.Pin = GPIO_PIN_4;
  GPIO_InitStruct.Mode = GPIO_MODE_AF_PP;
  GPIO_InitStruct.Pull = GPIO_NOPULL;
  GPIO_InitStruct.Speed = GPIO_SPEED_FREQ_LOW;
  GPIO_InitStruct.Alternate = GPIO_AF7_USART3;
  HAL_GPIO_Init(GPIOC, &GPIO_InitStruct);

  /*Configure GPIO pin : PB12 */
  GPIO_InitStruct.Pin = GPIO_PIN_12;
  GPIO_InitStruct.Mode = GPIO_MODE_AF_PP;
  GPIO_InitStruct.Pull = GPIO_NOPULL;
  GPIO_InitStruct.Speed = GPIO_SPEED_FREQ_LOW;
  GPIO_InitStruct.Alternate = GPIO_AF7_USART3;
  HAL_GPIO_Init(GPIOB, &GPIO_InitStruct);

  /*Configure GPIO pin : PB15 */
  GPIO_InitStruct.Pin = GPIO_PIN_15;
  GPIO_InitStruct.Mode = GPIO_MODE_ANALOG;
  GPIO_InitStruct.Pull = GPIO_NOPULL;
  HAL_GPIO_Init(GPIOB, &GPIO_InitStruct);

  /*Configure GPIO pin : MFX_WAKEUP_Pin */
  GPIO_InitStruct.Pin = MFX_WAKEUP_Pin;
  GPIO_InitStruct.Mode = GPIO_MODE_OUTPUT_PP;
  GPIO_InitStruct.Pull = GPIO_NOPULL;
  GPIO_InitStruct.Speed = GPIO_SPEED_FREQ_LOW;
  HAL_GPIO_Init(MFX_WAKEUP_GPIO_Port, &GPIO_InitStruct);

  /*Configure GPIO pins : PB14 PB13 */
  GPIO_InitStruct.Pin = GPIO_PIN_14|GPIO_PIN_13;
  GPIO_InitStruct.Mode = GPIO_MODE_AF_PP;
  GPIO_InitStruct.Pull = GPIO_NOPULL;
  GPIO_InitStruct.Speed = GPIO_SPEED_FREQ_LOW;
  GPIO_InitStruct.Alternate = GPIO_AF9_TSC;
  HAL_GPIO_Init(GPIOB, &GPIO_InitStruct);

  /* EXTI interrupt init*/
  HAL_NVIC_SetPriority(EXTI13_IRQn, 0, 0);
  HAL_NVIC_EnableIRQ(EXTI13_IRQn);

}

/* USER CODE BEGIN 4 */
/**
  * @brief  Configure the MPU attributes.
  * @note   The Base Address is External SRAM
  * @param  None
  * @retval None
  */
static void MPU_Config(void)
{
  MPU_Attributes_InitTypeDef   attr;
  MPU_Region_InitTypeDef       region;

  /* Disable MPU before perloading and config update */
  HAL_MPU_Disable();

  /* Define cacheable memory via MPU */
  attr.Number             = MPU_ATTRIBUTES_NUMBER0;
  attr.Attributes         = 0 ;
  HAL_MPU_ConfigMemoryAttributes(&attr);

  /* BaseAddress-LimitAddress configuration */
  region.Enable           = MPU_REGION_ENABLE;
  region.Number           = MPU_REGION_NUMBER0;
  region.AttributesIndex  = MPU_ATTRIBUTES_NUMBER0;
  region.BaseAddress      = FMC_ADDRESS;
  region.LimitAddress     = FMC_ADDRESS + REGION_SIZE - 1;
  region.AccessPermission = MPU_REGION_ALL_RW;
  region.DisableExec      = MPU_INSTRUCTION_ACCESS_ENABLE;
  region.IsShareable      = MPU_ACCESS_NOT_SHAREABLE;
  HAL_MPU_ConfigRegion(&region);

  /* Enable the MPU */
  HAL_MPU_Enable(MPU_PRIVILEGED_DEFAULT);
}

/**
  * @brief  Camera Frame Event callback.
  */
void HAL_DCMI_FrameEventCallback(DCMI_HandleTypeDef *hdcmi)
{
  frame_captured++;
}

/**
  * @brief Configure the Camera Module in continuous
  *        in Embedded Synchronization mode :
  *        Use embedded codes (SynchroCodes)
  *        for Synchronization the same
  *        set to the DCMI IP
  * @param  None
  * @retval 0   OK
  *         !=0 KO
  */
static uint32_t OV5640_Config(void)
{
  OV5640_IO_t              IOCtx;
  uint32_t                 id;
  uint32_t                 status = 0;
  static OV5640_Object_t   OV5640Obj;
  GPIO_InitTypeDef  gpio_init_structure;

  /* Configure the Camera driver */
  IOCtx.Address     = CAMERA_OV5640_ADDRESS;
  IOCtx.Init        = BSP_I2C2_Init;
  IOCtx.DeInit      = BSP_I2C2_DeInit;
  IOCtx.ReadReg     = BSP_I2C2_ReadReg16;
  IOCtx.WriteReg    = BSP_I2C2_WriteReg16;
  IOCtx.GetTick     = BSP_GetTick;

  /* Reset sensor */
  gpio_init_structure.Pin  = RSTI_PIN | XSDN_PIN;
  gpio_init_structure.Pull = GPIO_NOPULL;
  gpio_init_structure.Mode = GPIO_MODE_OUTPUT_PP;
  gpio_init_structure.Alternate  = GPIO_AF10_DCMI;
  HAL_GPIO_Init(GPIOI, &gpio_init_structure);

  /* Camera sensor RESET sequence */
  /* Assert the camera STANDBY pin (active high)  */
  HAL_GPIO_WritePin(XSDN_PORT, XSDN_PIN, GPIO_PIN_SET);
  HAL_GPIO_WritePin(RSTI_PORT, RSTI_PIN, GPIO_PIN_RESET);
  HAL_Delay(100);   /* RST and XSDN signals asserted during 100ms */

  /* De-assert the camera STANDBY pin (active high) */
  HAL_GPIO_WritePin(XSDN_PORT, XSDN_PIN, GPIO_PIN_RESET);
  HAL_Delay(3);     /* RST de-asserted and XSDN asserted during 3ms */

  /* De-assert the camera RSTI pin (active low) */
  HAL_GPIO_WritePin(RSTI_PORT, RSTI_PIN, GPIO_PIN_SET);
  HAL_Delay(20);     /* RST de-asserted during 20ms */

  /* Verify that the Camera module is plugged in */
  gpio_init_structure.Pin       = CAM_PLUG_PIN;
  gpio_init_structure.Pull      = GPIO_PULLUP;
  gpio_init_structure.Mode      = GPIO_MODE_INPUT;
  HAL_GPIO_Init(CAM_PLUG_PORT, &gpio_init_structure);

  if(((uint32_t)HAL_GPIO_ReadPin(CAM_PLUG_PORT, CAM_PLUG_PIN) & CAM_PLUG_PIN) == CAM_PLUG_PIN)
  {
    status = 1;
  }
  /**/
  if(OV5640_RegisterBusIO (&OV5640Obj, &IOCtx) != OV5640_OK)
  {
    status = OV5640_ERROR;
  }
  /*Read ID*/
  if(OV5640_ReadID(&OV5640Obj, &id) != OV5640_OK)
  {
    status = OV5640_ERROR;
  }
  if(id == OV5640_ID)
  {
    /*Initialize*/
    if(OV5640_Init(&OV5640Obj, CAMERA_R320x240, CAMERA_PF_RGB565) != OV5640_OK)
    {
      status = OV5640_ERROR;
    }

    /* Enable and set SynchroCodes CCIR to the camera Module */
    pSyncroCodes.FrameStartCode = 0xF4;
    pSyncroCodes.FrameEndCode   = 0xF3;
    pSyncroCodes.LineStartCode  = 0xF2;
    pSyncroCodes.LineEndCode    = 0xF1;

    if(OV5640_EmbeddedSynchroConfig(&OV5640Obj,&pSyncroCodes) !=OV5640_OK)
    {
      status = OV5640_ERROR;
    }

    HAL_Delay(100);
    /* Disable Flip and mirror effect */
    if(OV5640_MirrorFlipConfig(&OV5640Obj, OV5640_MIRROR_FLIP_NONE)!= OV5640_OK)
    {
      status = OV5640_ERROR;
    }

    HAL_Delay(100);
  }
  else
  {
    status = OV5640_ERROR;
  }

  return status;
}

/**
  * @brief  Display main example messages
  * @param  None
  * @retval None
  */
static void Example_Description(void)
{
  /* Set GUI functions */
  UTIL_LCD_SetFuncDriver(&LCD_Driver);

  /* Clear the LCD */
  UTIL_LCD_Clear(UTIL_LCD_COLOR_WHITE);

  /* Set font */
  UTIL_LCD_SetFont(&Font16);

  /* Clear the LCD */
  UTIL_LCD_Clear(UTIL_LCD_COLOR_WHITE);

  /* Set the LCD Text Color */
  UTIL_LCD_SetTextColor(UTIL_LCD_COLOR_WHITE);
  UTIL_LCD_SetBackColor(UTIL_LCD_COLOR_DARKBLUE);

  /* Display LCD messages */
  UTIL_LCD_FillRect(0, 5, 320, 80, UTIL_LCD_COLOR_DARKBLUE);
  UTIL_LCD_DisplayStringAt(0, 5, (uint8_t *)" Continuous Capture in ", CENTER_MODE);
  UTIL_LCD_DisplayStringAt(0, 20, (uint8_t *)"Embedded Synchronization Mode", CENTER_MODE);
  UTIL_LCD_DisplayStringAt(0, 35, (uint8_t *)" and Suspend-Resume ", CENTER_MODE);
  UTIL_LCD_DisplayStringAt(0, 50, (uint8_t *)" example: RGB Format ", CENTER_MODE);
  UTIL_LCD_SetFont(&Font12);
  UTIL_LCD_FillRect(0, 150, 320, 50, UTIL_LCD_COLOR_DARKBLUE);
  UTIL_LCD_SetTextColor(UTIL_LCD_COLOR_WHITE);
  UTIL_LCD_SetBackColor(UTIL_LCD_COLOR_DARKBLUE);
  UTIL_LCD_DisplayStringAt(0, 150, (uint8_t *)"Press USER push-button", CENTER_MODE);
  UTIL_LCD_DisplayStringAt(0, 165, (uint8_t *)"to start:", CENTER_MODE);
  UTIL_LCD_DisplayStringAt(0, 180, (uint8_t *)"then to Suspend/Resume ", CENTER_MODE);
  UTIL_LCD_SetBackColor(UTIL_LCD_COLOR_GRAY);
  UTIL_LCD_SetTextColor(UTIL_LCD_COLOR_ORANGE);
  UTIL_LCD_DisplayStringAt(0, 210, (uint8_t *)"CREATED BY : JAAFER HOSNI ", CENTER_MODE);
}

/**
  * @brief  EXTI line rising detection callback.
  * @param  GPIO_Pin: Specifies the port pin connected to corresponding EXTI line.
  * @retval None
  */
void HAL_GPIO_EXTI_Rising_Callback(uint16_t GPIO_Pin)
{
  /* Prevent unused argument(s) compilation warning */
  UNUSED(GPIO_Pin);
  UserButtonPressed = SET;
}
/* USER CODE END 4 */

void Error_Handler(void)
{
  /* USER CODE BEGIN Error_Handler_Debug */
  /* User can add his own implementation to report the HAL error return state */
  __disable_irq();
  while (1)
  {
    BSP_LED_Toggle(LED6);
    HAL_Delay(100);
  }
  /* USER CODE END Error_Handler_Debug */
}
